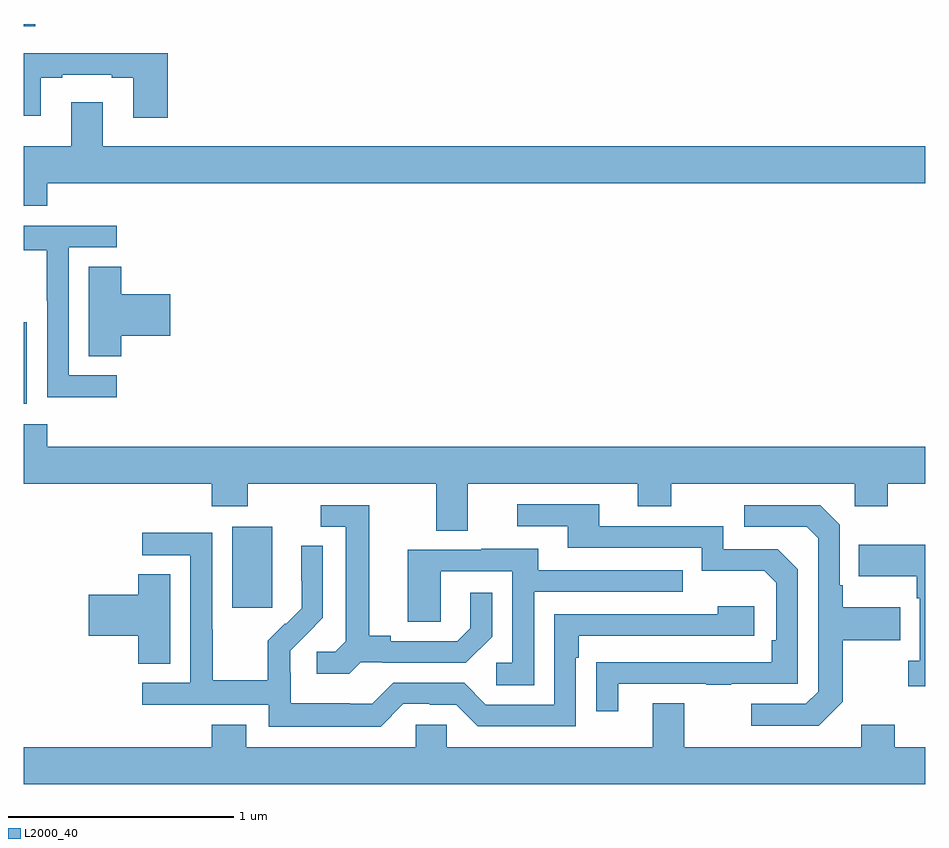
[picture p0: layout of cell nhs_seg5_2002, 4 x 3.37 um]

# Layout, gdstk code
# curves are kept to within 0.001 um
import gdstk
lib = gdstk.Library(unit=1e-6, precision=1e-09)
def R(c, l, rs):  # rectangles x0, y0, x1, y1
    for r in rs: c.add(gdstk.rectangle(r[:2], r[2:], *l))
def P(c, l, *ps):  # polygons
    for p in ps: c.add(gdstk.Polygon(p, *l))
L2000_40 = (2000, 40)

nhs_seg5_2002 = lib.new_cell('nhs_seg5_2002')
R(nhs_seg5_2002, L2000_40, [(229.925,856.209,230.104,856.57), (229,857.114,229.015,857.475), (229,858.788,229.051,858.799)])
P(nhs_seg5_2002, L2000_40, [(229.64,858.67),(229,858.67),(229,858.392),(229.075,858.392),(229.075,858.561),(229.171,858.561),(229.171,858.573),(229.391,858.573),(229.391,858.561),(229.487,858.561),(229.487,858.384),(229.64,858.384)],
  [(229.106,858.092),(233,858.092),(233,858.256),(229.351,858.256),(229.351,858.451),(229.211,858.451),(229.211,858.256),(229,858.256),(229,857.993),(229.106,857.993)],
  [(229.414,857.241),(229.2,857.241),(229.2,857.808),(229.414,857.808),(229.414,857.904),(229,857.904),(229,857.796),(229.102,857.796),(229.102,857.572),(229.104,857.572),(229.104,857.143),(229.414,857.143)],
  [(229.433,857.417),(229.651,857.417),(229.651,857.6),(229.433,857.6),(229.433,857.723),(229.289,857.723),(229.289,857.326),(229.433,857.326)],
  [(230.971,856.76),(231.725,856.76),(231.725,856.661),(231.873,856.661),(231.873,856.76),(232.686,856.76),(232.686,856.661),(232.833,856.661),(232.833,856.76),(233,856.76),(233,856.924),(229.106,856.924),(229.106,857.023),(229,857.023),(229,856.76),(229.835,856.76),(229.835,856.661),(229.995,856.661),(229.995,856.76),(230.831,856.76),(230.831,856.552),(230.971,856.552)],
  [(231.637,855.873),(232.027,855.873),(232.027,855.868),(232.139,855.868),(232.139,855.873),(232.434,855.873),(232.434,856.38),(232.344,856.47),(232.104,856.47),(232.104,856.572),(231.553,856.572),(231.553,856.668),(231.189,856.668),(231.189,856.572),(231.413,856.572),(231.413,856.476),(232.008,856.476),(232.008,856.373),(232.285,856.373),(232.338,856.32),(232.338,856.066),(232.318,856.066),(232.318,855.969),(231.541,855.968),(231.541,855.75),(231.637,855.75)],
  [(232.633,855.793),(232.633,856.066),(232.889,856.066),(232.889,856.213),(232.633,856.213),(232.633,856.309),(232.62,856.309),(232.62,856.578),(232.533,856.665),(232.197,856.665),(232.197,856.569),(232.473,856.569),(232.524,856.518),(232.524,855.837),(232.47,855.783),(232.227,855.783),(232.227,855.687),(232.527,855.687)],
  [(230.496,855.969),(230.59,855.969),(230.59,855.966),(230.962,855.966),(231.078,856.082),(231.078,856.276),(230.981,856.276),(230.981,856.119),(230.924,856.062),(230.629,856.062),(230.629,856.085),(230.533,856.085),(230.533,856.665),(230.319,856.665),(230.319,856.569),(230.429,856.569),(230.429,856.061),(230.382,856.014),(230.301,856.014),(230.301,855.917),(230.444,855.917)],
  [(230.685,855.783),(230.801,855.783),(230.801,855.78),(230.919,855.78),(231.015,855.684),(231.45,855.684),(231.45,855.989),(231.463,855.989),(231.463,856.086),(232.24,856.086),(232.24,856.216),(232.079,856.216),(232.079,856.182),(231.354,856.182),(231.354,855.78),(231.051,855.78),(230.955,855.876),(230.64,855.876),(230.547,855.783),(230.447,855.783),(230.447,855.787),(230.184,855.787),(230.184,855.921),(230.182,855.921),(230.182,856.018),(230.328,856.166),(230.328,856.484),(230.232,856.484),(230.232,856.33),(230.234,856.33),(230.234,856.208),(230.163,856.137),(230.16,856.14),(230.083,856.063),(230.083,855.889),(229.839,855.889),(229.839,856.112),(229.836,856.112),(229.836,856.542),(229.527,856.542),(229.527,856.443),(229.74,856.443),(229.74,855.876),(229.527,855.876),(229.527,855.78),(230.088,855.78),(230.088,855.683),(230.585,855.683)],
  [(233,856.489),(232.705,856.489),(232.705,856.349),(232.962,856.349),(232.962,856.253),(232.974,856.253),(232.974,855.974),(232.923,855.974),(232.923,855.861),(233,855.861)],
  [(231.264,856.281),(231.923,856.281),(231.923,856.377),(231.283,856.377),(231.283,856.471),(231.029,856.471),(231.029,856.467),(230.705,856.467),(230.705,856.147),(230.85,856.147),(230.85,856.371),(231.168,856.371),(231.168,855.966),(231.096,855.966),(231.096,855.865),(231.264,855.865)],
  [(229.651,856.358),(229.508,856.358),(229.508,856.268),(229.29,856.268),(229.29,856.085),(229.508,856.085),(229.508,855.961),(229.651,855.961)],
  [(229.835,855.691),(229.835,855.592),(229,855.592),(229,855.428),(233,855.428),(233,855.592),(232.863,855.592),(232.863,855.691),(232.715,855.691),(232.715,855.592),(231.931,855.592),(231.931,855.787),(231.791,855.787),(231.791,855.592),(230.877,855.592),(230.877,855.69),(230.739,855.69),(230.739,855.592),(229.987,855.592),(229.987,855.691)])

lib.write_gds('nhs_seg5_2002.gds')
